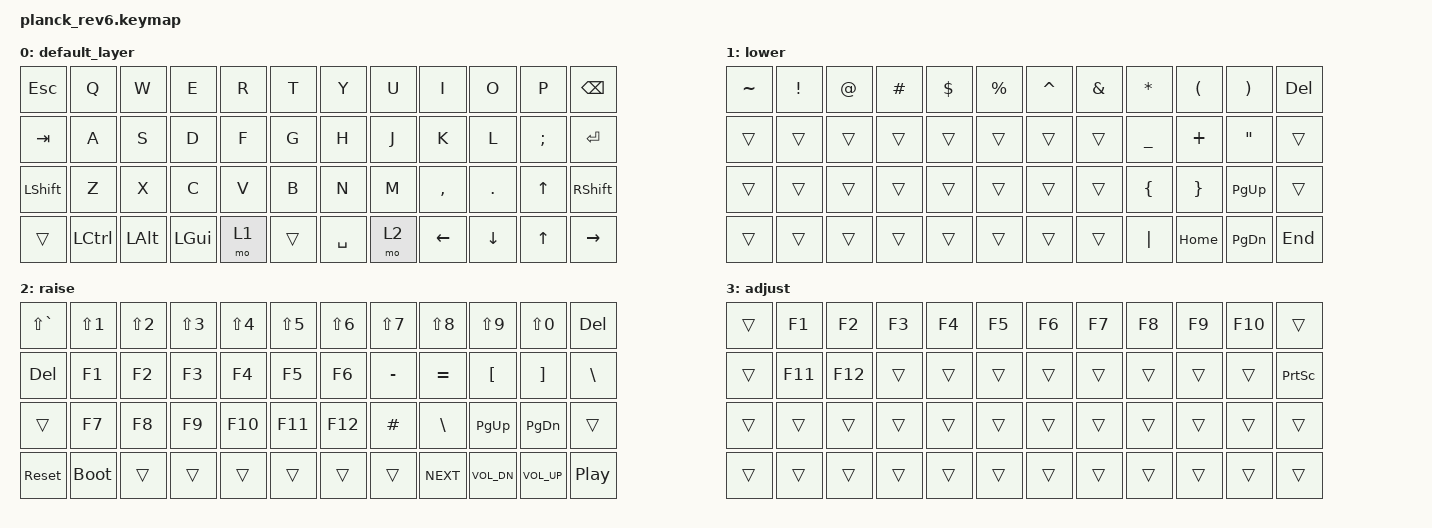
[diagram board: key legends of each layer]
/*
 * Copyright (c) 2020 The ZMK Contributors
 *
 * SPDX-License-Identifier: MIT
 */

#include <behaviors.dtsi>
#include <dt-bindings/zmk/keys.h>

/ {
	keymap {
		compatible = "zmk,keymap";
		default_layer {
			// -----------------------------------------------------------------------------------------
			// |  ESC  |  Q   |  W   |  E   |  R   |  T   |   Y   |  U    |  I   |  O   |   P   | BSPC  |
			// |  TAB  |  A   |  S   |  D   |  F   |  G   |   H   |  J    |  K   |  L   |   ;   |  RET  |
			// | SHIFT |  Z   |  X   |  C   |  V   |  B   |   N   |  M    |  ,   |  .   |  UP   | SHIFT |
			// |       | LCTL | LALT | LGUI | LOWR |     SPACE    |  RAIS |  /   | LARW | DOWN  |  RARW |
			bindings = <
				&kp ESC   &kp Q    &kp W    &kp E    &kp R &kp T  &kp Y     &kp U  &kp I     &kp O    &kp P    &kp BSPC
				&kp TAB   &kp A    &kp S    &kp D    &kp F &kp G  &kp H     &kp J  &kp K     &kp L    &kp SEMI &kp RET
				&kp LSHFT &kp Z    &kp X    &kp C    &kp V &kp B  &kp N     &kp M  &kp COMMA &kp DOT  &kp UP   &kp RSHIFT
				&trans    &kp LCTL &kp LALT &kp LGUI &mo 1 &trans &kp SPACE &mo 2  &kp LEFT  &kp DOWN &kp UP   &kp RIGHT
			>;
		};

		lower {
			bindings = <
				&kp TILDE &kp EXCL  &kp AT    &kp HASH  &kp DLLR  &kp PRCNT &kp CARET &kp AMPS       &kp STAR     &kp LPAR     &kp RPAR       &kp DEL
				&trans    &trans    &trans    &trans    &trans    &trans    &trans    &trans         &kp UNDER    &kp PLUS     &kp DQT        &trans
				&trans    &trans    &trans    &trans    &trans    &trans    &trans    &trans         &kp LBRC     &kp RBRC     &kp PG_UP      &trans
				&trans    &trans    &trans    &trans    &trans    &trans    &trans    &trans         &kp PIPE     &kp HOME     &kp PG_DN      &kp END
			>;
		};

		raise {
			bindings = <
				&kp LS(GRAVE) &kp LS(N1)  &kp LS(N2) &kp LS(N3) &kp LS(N4) &kp LS(N5) &kp LS(N6) &kp LS(N7) &kp LS(N8) &kp LS(N9)   &kp LS(N0)   &kp DEL
				&kp DEL       &kp F1      &kp F2     &kp F3     &kp F4     &kp F5     &kp F6     &kp MINUS  &kp EQUAL  &kp LBKT     &kp RBKT     &kp BSLH
				&trans        &kp F7      &kp F8     &kp F9     &kp F10    &kp F11    &kp F12    &kp HASH   &kp BSLH   &kp PG_UP    &kp PG_DN    &trans
				&sys_reset    &bootloader &trans     &trans     &trans     &trans     &trans     &trans     &kp C_NEXT &kp C_VOL_DN &kp C_VOL_UP &kp C_PP
			>;
		};

		adjust {
			bindings = <
				&trans &kp F1  &kp F2  &kp F3 &kp F4 &kp F5 &kp F6 &kp F7 &kp F8 &kp F9 &kp F10 &trans
				&trans &kp F11 &kp F12 &trans &trans &trans &trans &trans &trans &trans &trans  &kp PRINTSCREEN
				&trans &trans  &trans  &trans &trans &trans &trans &trans &trans &trans &trans  &trans	
				&trans &trans  &trans  &trans &trans &trans &trans &trans &trans &trans &trans  &trans	
			>;
		};
	};
	combos {
		compatible = "zmk,combos";
		adjust_layer_combo {
			timeout-ms = <50>;
			key-positions = <40 43>;
			bindings = <&mo 3>;
		};
	};
};
